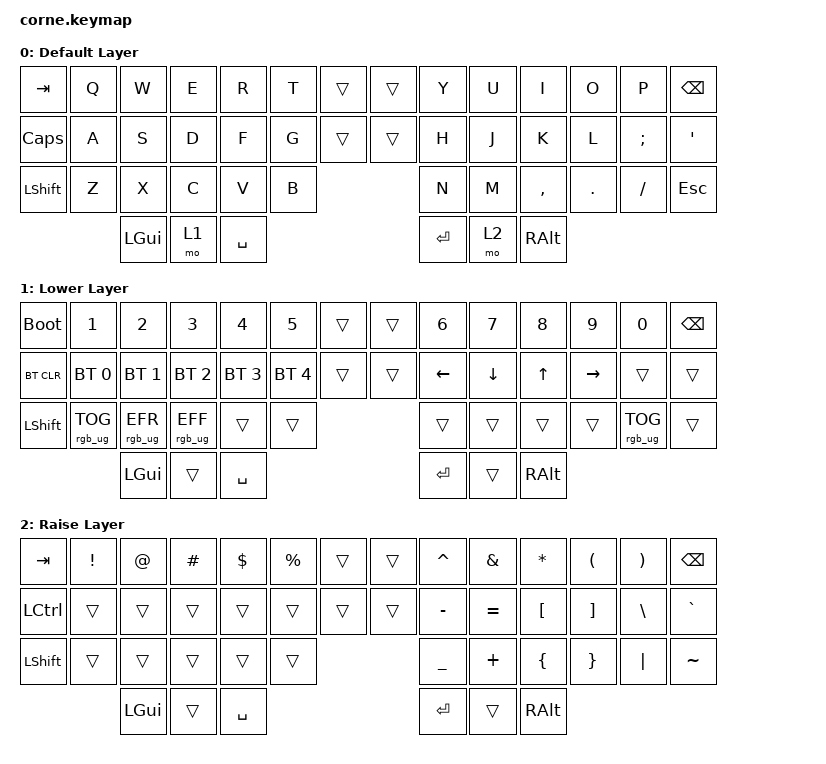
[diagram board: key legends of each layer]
/*
 * Copyright (c) 2020 The ZMK Contributors
 *
 * SPDX-License-Identifier: MIT
 */

#include <behaviors.dtsi>
#include <dt-bindings/zmk/keys.h>
#include <dt-bindings/zmk/bt.h>
#include <dt-bindings/zmk/rgb.h> // add support for RGB Underglow @20260910 by TY

//updated keymap for 7 column layout @20260910 By TY
/ {
        keymap {
                compatible = "zmk,keymap";

                default_layer {
                        display-name = "Default Layer";
// -----------------------------------------------------------------------------------------
// |  TAB |  Q  |  W  |  E  |  R  |  T  |     |   |     |  Y  |  U   |  I  |  O  |  P  | BSPC |
// | CAPS |  A  |  S  |  D  |  F  |  G  |     |   |     |  H  |  J   |  K  |  L  |  ;  |  '   |
// | SHFT |  Z  |  X  |  C  |  V  |  B  |               |  N  |  M   |  ,  |  .  |  /  | ESC  |
//                       | GUI | LWR | SPC |          | ENT | RSE  | ALT |
                        bindings = <
&kp TAB   &kp Q &kp W &kp E &kp R &kp T  &trans    &trans &kp Y &kp U  &kp I     &kp O   &kp P    &kp BSPC 
&kp CAPS  &kp A &kp S &kp D &kp F &kp G  &trans    &trans &kp H &kp J  &kp K     &kp L   &kp SEMI &kp SQT 
&kp LSHFT &kp Z &kp X &kp C &kp V &kp B                   &kp N &kp M  &kp COMMA &kp DOT &kp FSLH &kp ESC 
                  &kp LGUI &mo 1 &kp SPACE             &kp RET &mo 2 &kp RALT
                        >;
                };
                lower_layer {
                        display-name = "Lower Layer";
// -----------------------------------------------------------------------------------------
// |  BL  |  1    |  2    |  3    |  4  |  5  |     |   |     |  6  |  7  |  8  |  9  |  0    | BSPC |
// | BTCLR| BT1   | BT2   | BT3   | BT4 | BT5 |     |   |     | LFT | DWN |  UP | RGT |       |      |
// | SHFT |RGB_TOG|RGB_EFR|RGB_EFF|     |     |               |     |     |     |     |RGB_TOG|      |
//                                | GUI |     | SPC |   | ENT |     | ALT |
                        bindings = <
&bootloader &kp N1          &kp N2          &kp N3          &kp N4       &kp N5          &trans       &trans   &kp N6   &kp N7   &kp N8 &kp N9    &kp N0           &kp BSPC 
&bt BT_CLR  &bt BT_SEL 0    &bt BT_SEL 1    &bt BT_SEL 2    &bt BT_SEL 3 &bt BT_SEL 4    &trans       &trans   &kp LEFT &kp DOWN &kp UP &kp RIGHT &trans           &trans 
&kp LSHFT   &rgb_ug RGB_TOG &rgb_ug RGB_EFR &rgb_ug RGB_EFF &trans       &trans                                &trans   &trans   &trans &trans    &rgb_ug RGB_TOG  &trans
                                                &kp LGUI     &trans          &kp SPACE                      &kp RET  &trans   &kp RALT
                        >;
                };

                raise_layer {
                        display-name = "Raise Layer";
// -----------------------------------------------------------------------------------------
// |  TAB |  !  |  @  |  #  |  $  |  %  |     |   |     |  ^  |  &  |  *  |  (  |  )  | BSPC |
// | CTRL |     |     |     |     |     |     |   |     |  -  |  =  |  [  |  ]  |  \  |  `   |
// | SHFT |     |     |     |     |     |               |  _  |  +  |  {  |  }  | "|" |  ~   |
//                          | GUI |     | SPC |   | ENT |     | ALT |
                        bindings = <
&kp  TAB  &kp EXCL &kp AT &kp HASH &kp DLLR &kp PRCNT &trans   &trans  &kp CARET &kp AMPS  &kp ASTRK &kp LPAR &kp RPAR &kp BSPC 
&kp LCTRL &trans   &trans &trans   &trans   &trans    &trans   &trans  &kp MINUS &kp EQUAL &kp LBKT  &kp RBKT &kp BSLH &kp GRAVE 
&kp LSHFT &trans   &trans &trans   &trans   &trans                     &kp UNDER &kp PLUS  &kp LBRC  &kp RBRC &kp PIPE &kp TILDE 
                           &kp LGUI &trans   &kp SPACE               &kp RET &trans    &kp RALT
                        >;
                };
        };
};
